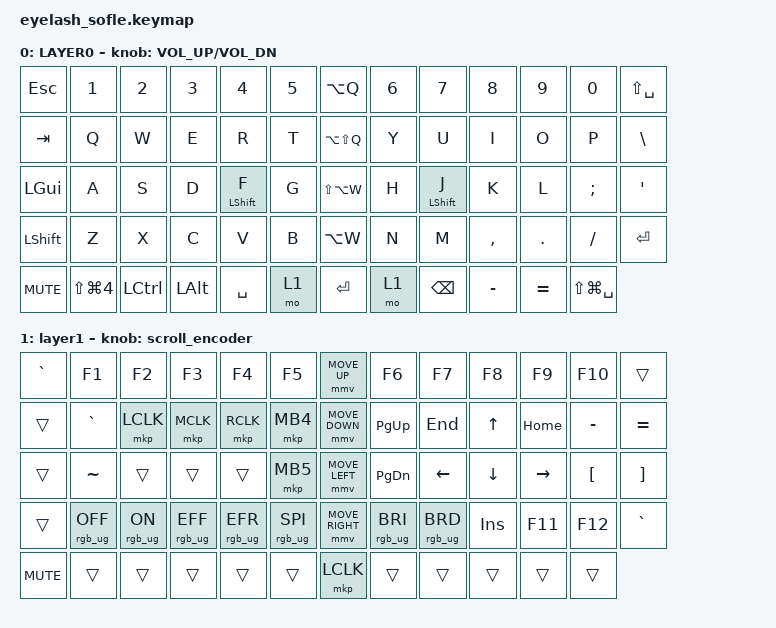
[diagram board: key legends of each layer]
#define ZMK_POINTING_DEFAULT_MOVE_VAL 1200  // 600
#define ZMK_POINTING_DEFAULT_SCRL_VAL 25   // 10

#include <input/processors.dtsi>
#include <zephyr/dt-bindings/input/input-event-codes.h>
#include <behaviors.dtsi>
#include <dt-bindings/zmk/bt.h>
#include <dt-bindings/zmk/keys.h>
#include <dt-bindings/zmk/outputs.h>
#include <dt-bindings/zmk/pointing.h>
#include <dt-bindings/zmk/rgb.h>

&mmv_input_listener { input-processors = <&zip_xy_scaler 2 1>; };

&msc_input_listener { input-processors = <&zip_scroll_scaler 2 1>; };

&msc {
    acceleration-exponent = <1>;      // 0
    time-to-max-speed-ms = <100>;       // 300
    delay-ms = <0>;                   // 0
};

&mmv {
    time-to-max-speed-ms = <500>;
    acceleration-exponent = <1>;
    trigger-period-ms = <16>;
};

&soft_off { hold-time-ms = <2000>; };

&mt {
    quick-tap-ms = <130>;
    flavor = "tap-preferred";
};

/ {
    scroll_encoder: scroll_encoder {
        compatible = "zmk,behavior-sensor-rotate";
        #sensor-binding-cells = <0>;
        bindings = <&msc SCRL_DOWN>, <&msc SCRL_UP>;

        tap-ms = <100>;
    };

    behaviors {
    };

    combos {
        compatible = "zmk,combos";

        softoff {
            bindings = <&soft_off>;
            key-positions = <14 28 40>;
        };
    };

    macros {
        SHIFT_MCLK: SHIFT_MCLK {
            compatible = "zmk,behavior-macro";
            #binding-cells = <0>;
            bindings =
                <&macro_press>,
                <&kp LEFT_SHIFT>,
                <&macro_press>,
                <&mkp MB3>,
                <&macro_pause_for_release>,
                <&macro_release>,
                <&kp LEFT_SHIFT &mkp MB3>;

            label = "SHIFT_MCLK";
        };
    };

    keymap {
        compatible = "zmk,keymap";

        layer0 {
            bindings = <
&kp ESC       &kp N1          &kp N2     &kp N3        &kp N4            &kp N5    &kp LA(Q)      &kp N6  &kp N7            &kp N8     &kp N9     &kp N0             &kp LS(SPACE)
&kp TAB       &kp Q           &kp W      &kp E         &kp R             &kp T     &kp LA(LS(Q))  &kp Y   &kp U             &kp I      &kp O      &kp P              &kp BSLH
&kp LEFT_GUI  &kp A           &kp S      &kp D         &mt LEFT_SHIFT F  &kp G     &kp LS(LA(W))  &kp H   &mt LEFT_SHIFT J  &kp K      &kp L      &kp SEMI           &kp APOS
&kp LSHFT     &kp Z           &kp X      &kp C         &kp V             &kp B     &kp LA(W)      &kp N   &kp M             &kp COMMA  &kp DOT    &kp FSLH           &kp ENTER
&kp C_MUTE    &kp LS(LG(N4))  &kp LCTRL  &kp LEFT_ALT  &kp SPACE         &mo 1     &kp ENTER      &mo 1   &kp BACKSPACE     &kp MINUS  &kp EQUAL  &kp LS(LG(SPACE))
            >;

            sensor-bindings = <&inc_dec_kp C_VOLUME_UP C_VOL_DN>;
            display-name = "LAYER0";
        };

        layer_1 {
            bindings = <
&kp GRAVE   &kp F1           &kp F2          &kp F3           &kp F4           &kp F5             &mmv MOVE_UP     &kp F6           &kp F7           &kp F8      &kp F9     &kp F10           &trans
&trans      &kp GRAVE        &mkp LCLK       &mkp MCLK        &mkp RCLK        &mkp MB4           &mmv MOVE_DOWN   &kp PG_UP        &kp END          &kp UP      &kp HOME   &kp MINUS         &kp EQUAL
&trans      &kp TILDE        &trans          &trans           &trans           &mkp MB5           &mmv MOVE_LEFT   &kp PG_DN        &kp LEFT         &kp DOWN    &kp RIGHT  &kp LEFT_BRACKET  &kp RIGHT_BRACKET
&trans      &rgb_ug RGB_OFF  &rgb_ug RGB_ON  &rgb_ug RGB_EFF  &rgb_ug RGB_EFR  &rgb_ug RGB_SPI    &mmv MOVE_RIGHT  &rgb_ug RGB_BRI  &rgb_ug RGB_BRD  &kp INSERT  &kp F11    &kp F12           &kp GRAVE
&kp C_MUTE  &trans           &trans          &trans           &trans           &trans             &mkp LCLK        &trans           &trans           &trans      &trans     &trans
            >;

            display-name = "layer1";
            sensor-bindings = <&scroll_encoder>;
        };
    };
};
